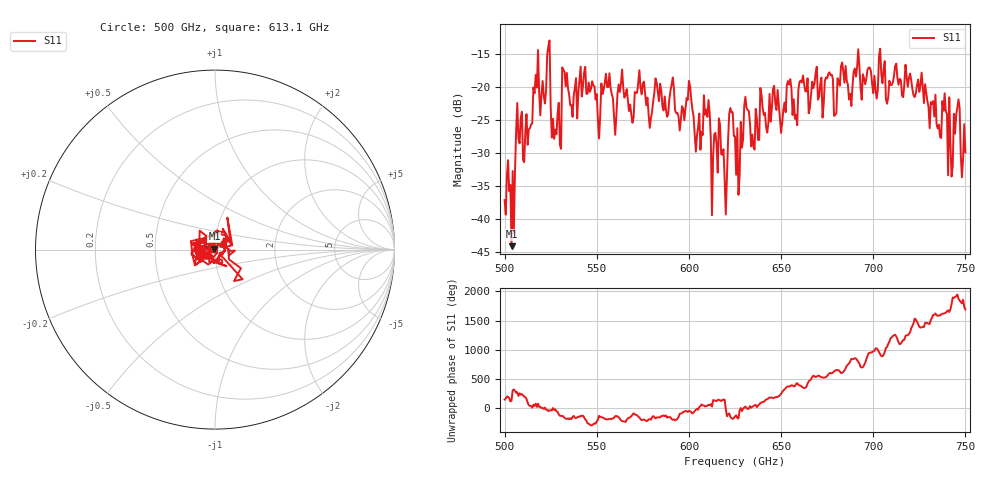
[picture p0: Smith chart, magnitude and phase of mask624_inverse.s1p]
!Created with skrf (http://scikit-rf.org).
# GHz S MA R 50.0
!freq magS11 angS11
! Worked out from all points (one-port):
!   401 points, 500 GHz to 750 GHz, reference 50 ohm
!   lowest |S11| = -44.2 dB at 503.8 GHz (marker M1), VSWR 1.01, Z = 49.7 + j0.529 ohm
!   |S11| at or under -10 dB: start of sweep to end of sweep
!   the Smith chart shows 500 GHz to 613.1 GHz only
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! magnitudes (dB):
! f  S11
! 500 GHz  -37.2
! 503.8 GHz  -44.2
! 507.5 GHz  -27.9
! 513.8 GHz  -26.3
! 516.9 GHz  -18.2
! 520.6 GHz  -19.1
! 523.8 GHz  -13.8
! 526.9 GHz  -27.9
! 531.2 GHz  -17.0
! 532.5 GHz  -17.7
! 550.6 GHz  -25.1
! 562.5 GHz  -20.8
! 593.8 GHz  -23.9
! 600 GHz  -19.1
! 605 GHz  -26.1
! 609.4 GHz  -23.4
! 619.4 GHz  -34.0
! 622.5 GHz  -23.2
! 625 GHz  -27.5
! 626.2 GHz  -26.3
! 631.2 GHz  -23.1
! 634.4 GHz  -27.2
! 640 GHz  -23.2
! 656.2 GHz  -24.3
! 687.5 GHz  -21.0
! 691.2 GHz  -17.0
! 718.8 GHz  -20.0
! 750 GHz  -29.9
